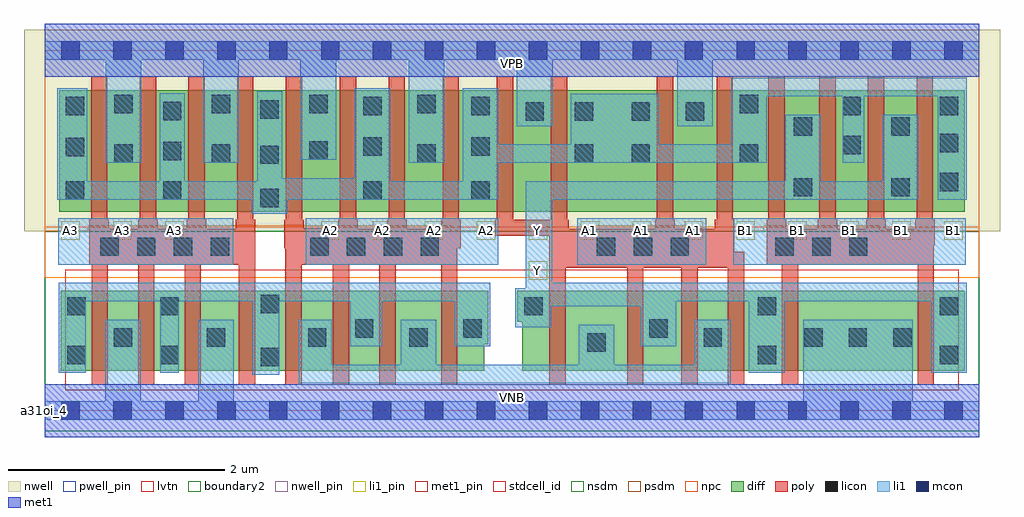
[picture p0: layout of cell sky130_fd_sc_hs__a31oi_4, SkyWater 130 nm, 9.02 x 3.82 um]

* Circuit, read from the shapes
.subckt sky130_fd_sc_hs__a31oi_4 A1 A2 A3 B1 VGND VNB VPB VPWR Y
XM1 VGND A3 n1 VNB sky130_fd_pr__nfet_01v8_lvt w=0.74 l=0.15 m=4
XM2 n2 A2 n1 VNB sky130_fd_pr__nfet_01v8_lvt w=0.74 l=0.15 m=4
XM3 n2 A1 Y VNB sky130_fd_pr__nfet_01v8_lvt w=0.74 l=0.15 m=4
XM4 VGND B1 Y VNB sky130_fd_pr__nfet_01v8_lvt w=0.74 l=0.15 m=2
XM5 VPWR A3 n3 VPB sky130_fd_pr__pfet_01v8 w=1.12 l=0.15 m=4
XM6 VPWR A2 n3 VPB sky130_fd_pr__pfet_01v8 w=1.12 l=0.15 m=4
XM7 VPWR A1 n3 VPB sky130_fd_pr__pfet_01v8 w=1.12 l=0.15 m=4
XM8 Y B1 n3 VPB sky130_fd_pr__pfet_01v8 w=1.12 l=0.15 m=4
.ends

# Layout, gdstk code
import gdstk
lib = gdstk.Library(unit=1e-6, precision=1e-09)
def R(c, l, rs):  # rectangles x0, y0, x1, y1
    for r in rs: c.add(gdstk.rectangle(r[:2], r[2:], *l))
def A(c, l, x, y, w, h, nx, ny, dx, dy):  # array of equal rectangles
    R(c, l, [(x+i*dx, y+j*dy, x+i*dx+w, y+j*dy+h) for i in range(nx) for j in range(ny)])
def P(c, l, *ps):  # polygons
    for p in ps: c.add(gdstk.Polygon(p, *l))
nwell_pin = (64, 16)
nwell = (64, 20)
diff = (65, 20)
poly = (66, 20)
licon = (66, 44)
li1_pin = (67, 16)
li1 = (67, 20)
mcon = (67, 44)
met1_pin = (68, 16)
met1 = (68, 20)
stdcell_id = (81, 4)
nsdm = (93, 44)
psdm = (94, 20)
npc = (95, 20)
pwell_pin = (122, 16)
lvtn = (125, 44)
boundary2 = (236, 0)

sky130_fd_sc_hs__a31oi_4 = lib.new_cell('sky130_fd_sc_hs__a31oi_4')
R(sky130_fd_sc_hs__a31oi_4, nwell_pin, [(0,3.085,8.64,3.33)])
R(sky130_fd_sc_hs__a31oi_4, nwell, [(-0.19,1.66,8.83,3.52)])
R(sky130_fd_sc_hs__a31oi_4, diff, [(0.135,1.84,8.505,2.96)])
P(sky130_fd_sc_hs__a31oi_4, diff, [(4.1,1.11),(0.15,1.11),(0.15,0.37),(4.065,0.37),(4.065,0.615),(4.1,0.615)],
  [(8.505,1.11),(4.37,1.11),(4.37,0.82),(4.415,0.82),(4.415,0.37),(8.505,0.37)])
P(sky130_fd_sc_hs__a31oi_4, poly, [(1.945,1.765),(1.93,1.765),(1.93,3.09),(1.78,3.09),(1.78,1.765),(1.765,1.765),(1.765,1.68),(1.495,1.68),(1.495,1.765),(1.48,1.765),(1.48,3.09),(1.33,3.09),(1.33,1.765),(1.315,1.765),(1.315,1.68),(1.045,1.68),(1.045,1.765),(1.03,1.765),(1.03,3.09),(0.88,3.09),(0.88,1.765),(0.865,1.765),(0.865,1.68),(0.595,1.68),(0.595,1.765),(0.58,1.765),(0.58,3.09),(0.43,3.09),(0.43,1.765),(0.415,1.765),(0.415,1.35),(0.435,1.35),(0.435,0.24),(0.585,0.24),(0.585,1.35),(0.865,1.35),(0.865,0.24),(1.015,0.24),(1.015,1.35),(1.295,1.35),(1.295,0.24),(1.445,0.24),(1.445,1.35),(1.795,1.35),(1.795,0.24),(1.945,0.24)],
  [(3.845,1.765),(3.83,1.765),(3.83,3.09),(3.68,3.09),(3.68,1.765),(3.665,1.765),(3.665,1.68),(3.345,1.68),(3.345,1.765),(3.33,1.765),(3.33,3.09),(3.18,3.09),(3.18,1.765),(3.165,1.765),(3.165,1.68),(2.895,1.68),(2.895,1.765),(2.88,1.765),(2.88,3.09),(2.73,3.09),(2.73,1.765),(2.715,1.765),(2.715,1.685),(2.395,1.685),(2.395,1.765),(2.38,1.765),(2.38,3.09),(2.23,3.09),(2.23,1.765),(2.215,1.765),(2.215,1.5),(2.225,1.5),(2.225,0.24),(2.375,0.24),(2.375,1.35),(2.665,1.35),(2.665,0.24),(2.815,0.24),(2.815,1.35),(3.095,1.35),(3.095,0.24),(3.245,0.24),(3.245,1.35),(3.665,1.35),(3.665,0.24),(3.815,0.24),(3.815,1.5),(3.845,1.5)],
  [(6.465,1.47),(6.375,1.47),(6.375,1.765),(6.36,1.765),(6.36,3.09),(6.21,3.09),(6.21,1.765),(6.195,1.765),(6.195,1.68),(5.825,1.68),(5.825,1.765),(5.81,1.765),(5.81,3.09),(5.66,3.09),(5.66,1.765),(5.645,1.765),(5.645,1.68),(4.845,1.68),(4.845,1.765),(4.83,1.765),(4.83,3.09),(4.68,3.09),(4.68,1.765),(4.33,1.765),(4.33,3.09),(4.18,3.09),(4.18,1.765),(4.165,1.765),(4.165,1.615),(4.665,1.615),(4.665,0.24),(4.815,0.24),(4.815,1.32),(5.385,1.32),(5.385,0.24),(5.535,0.24),(5.535,1.32),(5.885,1.32),(5.885,0.24),(6.035,0.24),(6.035,1.32),(6.315,1.32),(6.315,0.24),(6.465,0.24)],
  [(8.225,1.765),(8.21,1.765),(8.21,3.09),(8.06,3.09),(8.06,1.765),(8.045,1.765),(8.045,1.68),(7.775,1.68),(7.775,1.765),(7.76,1.765),(7.76,3.09),(7.61,3.09),(7.61,1.765),(7.595,1.765),(7.595,1.68),(7.325,1.68),(7.325,1.765),(7.31,1.765),(7.31,3.09),(7.16,3.09),(7.16,1.765),(7.145,1.765),(7.145,1.68),(6.855,1.68),(6.855,1.765),(6.84,1.765),(6.84,3.09),(6.69,3.09),(6.69,1.765),(6.675,1.765),(6.675,1.35),(6.815,1.35),(6.815,0.24),(6.965,0.24),(6.965,1.35),(8.07,1.35),(8.07,0.24),(8.22,0.24),(8.22,1.53),(8.225,1.53)])
A(sky130_fd_sc_hs__a31oi_4, licon, 1.5, 0.59, 0.17, 0.17, 3, 1, 0.935, 0)
A(sky130_fd_sc_hs__a31oi_4, licon, 0.515, 1.43, 0.17, 0.17, 4, 1, 0.34, 0)
A(sky130_fd_sc_hs__a31oi_4, licon, 2.455, 1.43, 0.17, 0.17, 4, 1, 0.34, 0)
A(sky130_fd_sc_hs__a31oi_4, licon, 5.105, 1.43, 0.17, 0.17, 3, 1, 0.34, 0)
A(sky130_fd_sc_hs__a31oi_4, licon, 6.755, 1.43, 0.17, 0.17, 3, 1, 0.34, 0)
A(sky130_fd_sc_hs__a31oi_4, licon, 0.645, 2.75, 0.17, 0.17, 3, 1, 0.9, 0)
R(sky130_fd_sc_hs__a31oi_4, licon, [(2,0.41,2.17,0.58), (0.21,0.43,0.38,0.6), (1.07,0.43,1.24,0.6), (6.59,0.43,6.76,0.6), (8.275,0.43,8.445,0.6), (5.015,0.545,5.185,0.715), (0.64,0.59,0.81,0.76), (6.09,0.59,6.26,0.76), (7.02,0.59,7.19,0.76), (7.43,0.59,7.6,0.76), (7.845,0.59,8.015,0.76), (2.87,0.675,3.04,0.845), (3.87,0.675,4.04,0.845), (5.59,0.675,5.76,0.845), (0.21,0.88,0.38,1.05), (1.07,0.88,1.24,1.05), (4.435,0.88,4.605,1.05), (6.59,0.88,6.76,1.05), (8.275,0.88,8.445,1.05), (2,0.9,2.17,1.07), (1.995,1.88,2.165,2.05), (0.195,1.95,0.365,2.12), (1.095,1.95,1.265,2.12), (2.945,1.95,3.115,2.12), (3.945,1.95,4.115,2.12), (6.925,1.98,7.095,2.15), (7.825,1.98,7.995,2.15), (8.275,2.03,8.445,2.2), (1.995,2.28,2.165,2.45), (0.645,2.29,0.815,2.46), (1.545,2.29,1.715,2.46), (3.445,2.29,3.615,2.46), (4.9,2.29,5.07,2.46), (5.425,2.29,5.595,2.46), (6.425,2.29,6.595,2.46), (1.095,2.315,1.265,2.485), (2.445,2.32,2.615,2.49), (0.195,2.35,0.365,2.52), (2.945,2.355,3.115,2.525), (3.945,2.355,4.115,2.525), (7.375,2.37,7.545,2.54), (8.275,2.39,8.445,2.56), (6.925,2.54,7.095,2.71), (7.825,2.54,7.995,2.71), (4.445,2.68,4.615,2.85), (4.9,2.68,5.07,2.85), (5.425,2.68,5.595,2.85), (5.925,2.68,6.095,2.85), (1.095,2.685,1.265,2.855), (1.995,2.7,2.165,2.87), (0.195,2.73,0.365,2.9), (2.945,2.73,3.115,2.9), (3.945,2.73,4.115,2.9), (7.375,2.73,7.545,2.9), (8.275,2.73,8.445,2.9), (3.445,2.75,3.615,2.92), (6.425,2.75,6.595,2.92)])
A(sky130_fd_sc_hs__a31oi_4, li1_pin, 0.155, 1.58, 0.17, 0.17, 3, 1, 0.48, 0)
A(sky130_fd_sc_hs__a31oi_4, li1_pin, 2.555, 1.58, 0.17, 0.17, 13, 1, 0.48, 0)
R(sky130_fd_sc_hs__a31oi_4, li1_pin, [(4.475,1.21,4.645,1.38)])
R(sky130_fd_sc_hs__a31oi_4, li1, [(0.125,1.35,1.745,1.78), (2.415,1.35,4.195,1.78), (4.925,1.35,6.115,1.78), (6.365,1.35,8.515,1.78)])
P(sky130_fd_sc_hs__a31oi_4, li1, [(5.845,2.63),(5.845,3.245),(4.695,3.245),(4.695,2.63),(4.365,2.63),(4.365,3.245),(3.695,3.245),(3.695,2.29),(3.365,2.29),(3.365,3.245),(2.695,3.245),(2.695,2.32),(2.365,2.32),(2.365,3.245),(1.795,3.245),(1.795,2.29),(1.465,2.29),(1.465,3.245),(0.895,3.245),(0.895,2.29),(0.565,2.29),(0.565,3.245),(0,3.245),(0,3.415),(8.64,3.415),(8.64,3.245),(6.175,3.245),(6.175,2.63)],
  [(1.42,0.085),(1.42,0.84),(1.75,0.84),(1.75,0.085),(7.01,0.085),(7.01,0.84),(8.025,0.84),(8.025,0.085),(8.64,0.085),(8.64,-0.085),(0,-0.085),(0,0.085),(0.56,0.085),(0.56,0.84),(0.89,0.84),(0.89,0.085)],
  [(8.525,1.18),(4.69,1.18),(4.69,1.95),(8.075,1.95),(8.075,2.735),(7.745,2.735),(7.745,2.12),(7.175,2.12),(7.175,2.735),(6.845,2.735),(6.845,2.12),(4.445,2.12),(4.445,1.13),(4.35,1.13),(4.35,0.77),(4.685,0.77),(4.685,0.965),(5.51,0.965),(5.51,0.595),(5.84,0.595),(5.84,1.01),(6.51,1.01),(6.51,0.35),(6.84,0.35),(6.84,1.01),(8.195,1.01),(8.195,0.35),(8.525,0.35)],
  [(4.12,1.18),(0.13,1.18),(0.13,0.35),(0.38,0.35),(0.38,1.01),(1.07,1.01),(1.07,0.35),(1.24,0.35),(1.24,1.01),(1.92,1.01),(1.92,0.33),(2.17,0.33),(2.17,1.01),(2.825,1.01),(2.825,0.595),(3.12,0.595),(3.12,1.01),(3.79,1.01),(3.79,0.595),(4.12,0.595)],
  [(6.34,0.84),(6.01,0.84),(6.01,0.425),(5.265,0.425),(5.265,0.795),(4.935,0.795),(4.935,0.425),(3.62,0.425),(3.62,0.84),(3.29,0.84),(3.29,0.425),(2.655,0.425),(2.655,0.84),(2.35,0.84),(2.35,0.255),(6.34,0.255)],
  [(8.525,3.075),(6.345,3.075),(6.345,2.46),(5.675,2.46),(5.675,2.93),(4.865,2.93),(4.865,2.46),(4.195,2.46),(4.195,2.98),(3.865,2.98),(3.865,2.12),(3.195,2.12),(3.195,2.98),(2.865,2.98),(2.865,2.15),(2.195,2.15),(2.195,2.95),(1.965,2.95),(1.965,2.12),(1.295,2.12),(1.295,2.935),(1.065,2.935),(1.065,2.12),(0.395,2.12),(0.395,2.98),(0.115,2.98),(0.115,1.95),(1.915,1.95),(1.915,1.82),(2.245,1.82),(2.245,1.95),(4.195,1.95),(4.195,2.29),(6.675,2.29),(6.675,2.905),(7.375,2.905),(7.375,2.29),(7.575,2.29),(7.575,2.905),(8.255,2.905),(8.255,1.95),(8.525,1.95)])
A(sky130_fd_sc_hs__a31oi_4, mcon, 0.155, -0.085, 0.17, 0.17, 18, 2, 0.48, 3.33)
R(sky130_fd_sc_hs__a31oi_4, met1_pin, [(0,0,8.64,0.245), (0,3.085,8.64,3.33)])
R(sky130_fd_sc_hs__a31oi_4, met1, [(0,-0.245,8.64,0.245), (0,3.085,8.64,3.575)])
R(sky130_fd_sc_hs__a31oi_4, stdcell_id, [(0,0,8.64,3.33)])
R(sky130_fd_sc_hs__a31oi_4, nsdm, [(0,-0.19,8.64,1.66)])
P(sky130_fd_sc_hs__a31oi_4, psdm, [(8.64,3.52),(0,3.52),(0,1.66),(0.405,1.66),(0.405,1.71),(3.755,1.71),(3.755,1.66),(4.995,1.66),(4.995,1.71),(6.065,1.71),(6.065,1.66),(6.645,1.66),(6.645,1.71),(7.715,1.71),(7.715,1.66),(8.64,1.66)])
R(sky130_fd_sc_hs__a31oi_4, npc, [(0,1.23,8.64,1.7)])
R(sky130_fd_sc_hs__a31oi_4, pwell_pin, [(0,0,8.64,0.245)])
R(sky130_fd_sc_hs__a31oi_4, lvtn, [(0.19,0.19,8.45,1.3)])
R(sky130_fd_sc_hs__a31oi_4, boundary2, [(0,0,8.64,3.33)])
sky130_fd_sc_hs__a31oi_4.add(gdstk.Label('a31oi_4', (0,0), layer=83, texttype=44))
sky130_fd_sc_hs__a31oi_4.add(gdstk.Label('VNB', (4.32,0.123), layer=64, texttype=59))
sky130_fd_sc_hs__a31oi_4.add(gdstk.Label('VPB', (4.32,3.208), layer=64, texttype=5))
sky130_fd_sc_hs__a31oi_4.add(gdstk.Label('VPWR', (4.32,3.208), layer=68, texttype=5))
sky130_fd_sc_hs__a31oi_4.add(gdstk.Label('VGND', (4.32,0.123), layer=68, texttype=5))
sky130_fd_sc_hs__a31oi_4.add(gdstk.Label('B1', (6.48,1.665), layer=67, texttype=5))
sky130_fd_sc_hs__a31oi_4.add(gdstk.Label('B1', (6.96,1.665), layer=67, texttype=5))
sky130_fd_sc_hs__a31oi_4.add(gdstk.Label('B1', (7.44,1.665), layer=67, texttype=5))
sky130_fd_sc_hs__a31oi_4.add(gdstk.Label('B1', (7.92,1.665), layer=67, texttype=5))
sky130_fd_sc_hs__a31oi_4.add(gdstk.Label('B1', (8.4,1.665), layer=67, texttype=5))
sky130_fd_sc_hs__a31oi_4.add(gdstk.Label('A3', (0.24,1.665), layer=67, texttype=5))
sky130_fd_sc_hs__a31oi_4.add(gdstk.Label('A3', (0.72,1.665), layer=67, texttype=5))
sky130_fd_sc_hs__a31oi_4.add(gdstk.Label('A3', (1.2,1.665), layer=67, texttype=5))
sky130_fd_sc_hs__a31oi_4.add(gdstk.Label('A2', (2.64,1.665), layer=67, texttype=5))
sky130_fd_sc_hs__a31oi_4.add(gdstk.Label('A2', (3.12,1.665), layer=67, texttype=5))
sky130_fd_sc_hs__a31oi_4.add(gdstk.Label('A2', (3.6,1.665), layer=67, texttype=5))
sky130_fd_sc_hs__a31oi_4.add(gdstk.Label('A2', (4.08,1.665), layer=67, texttype=5))
sky130_fd_sc_hs__a31oi_4.add(gdstk.Label('A1', (5.04,1.665), layer=67, texttype=5))
sky130_fd_sc_hs__a31oi_4.add(gdstk.Label('A1', (5.52,1.665), layer=67, texttype=5))
sky130_fd_sc_hs__a31oi_4.add(gdstk.Label('A1', (6,1.665), layer=67, texttype=5))
sky130_fd_sc_hs__a31oi_4.add(gdstk.Label('Y', (4.56,1.295), layer=67, texttype=5))
sky130_fd_sc_hs__a31oi_4.add(gdstk.Label('Y', (4.56,1.665), layer=67, texttype=5))

lib.write_gds('sky130_fd_sc_hs__a31oi_4.gds')
